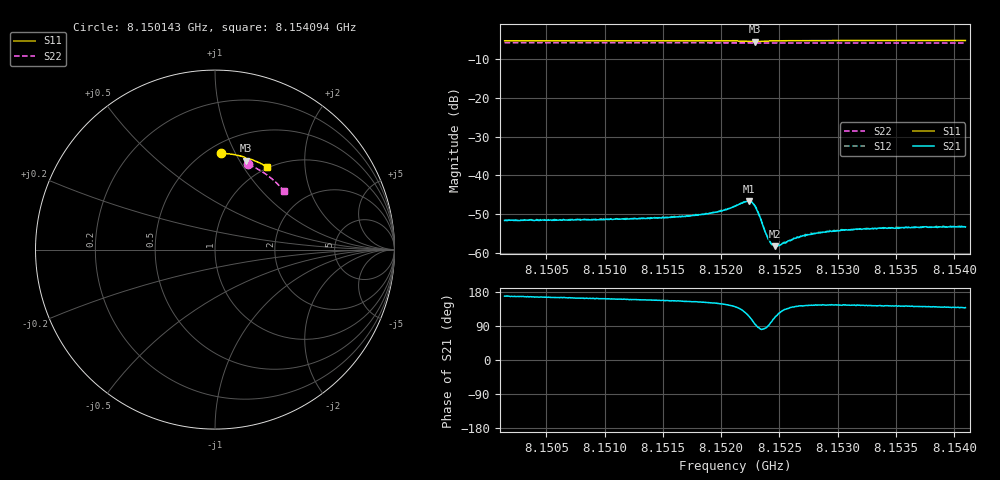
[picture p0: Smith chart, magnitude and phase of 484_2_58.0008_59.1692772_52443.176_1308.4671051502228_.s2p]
#  HZ  S  RI  R  50.00
! Rohde & Schwarz Vector Network Analyzer
! Rohde-Schwarz,ZNB20-2Port,1311601062101988,3.16
! Created: UTC 3/21/2024, 1:12:00 AM
! freq[Hz]  re:S11  im:S11  re:S21  im:S21  re:S12  im:S12  re:S22  im:S22
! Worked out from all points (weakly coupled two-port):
!   401 points, 8.150143 GHz to 8.154094 GHz, reference 50 ohm
!   highest |S21| = -46.61 dB at 8.152237 GHz (marker M1); lowest = -58.2 dB at 8.152464 GHz (marker M2)
!   lowest |S11| = -5.6 dB at 8.152286 GHz (marker M3), VSWR 3.21, Z = 38.9 + j53.3 ohm
!   |S11| at or under -10 dB: nowhere
!   |S22| runs from -6.0 to -5.9 dB; largest |S21 - S12| = 0.00013
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8.1501426e9  0.0331 0.5373  -0.00259 0.000525  -0.00258 0.000575  0.185 0.4749
8.1508045e9  0.0793 0.5336  -0.00259 0.000766  -0.00257 0.000802  0.2235 0.457
8.1514664e9  0.1253 0.5257  -0.00265 0.00109  -0.00262 0.00116  0.2603 0.4359
8.1517134e9  0.1426 0.5215  -0.0027 0.00128  -0.00274 0.00133  0.2735 0.4273
8.1518616e9  0.1532 0.5183  -0.00281 0.00149  -0.00283 0.00156  0.2813 0.422
8.1520098e9  0.1643 0.5142  -0.00298 0.00185  -0.00301 0.00193  0.289 0.4165
8.1521184e9  0.1728 0.5091  -0.0031 0.00255  -0.00309 0.00263  0.2945 0.4122
8.1521975e9  0.1775 0.5025  -0.00276 0.0036  -0.00279 0.00366  0.2984 0.4089
8.152237e9  0.1772 0.4981  -0.00204 0.00421  -0.002 0.00427  0.3003 0.4073
8.1522666e9  0.1749 0.4959  -0.0011 0.00434  -0.00103 0.0044  0.3014 0.4062
8.1522864e9  0.173 0.4958  -0.000417 0.0041  -0.000362 0.00412  0.3024 0.4054
8.152316e9  0.1707 0.4982  0.000229 0.00333  0.000248 0.00342  0.3038 0.4044
8.1523852e9  0.1743 0.5044  0.000158 0.00177  0.000209 0.00176  0.3073 0.4021
8.1524049e9  0.1762 0.5053  -1.89e-05 0.0015  1.7e-05 0.00151  0.3083 0.4013
8.1524346e9  0.179 0.5062  -0.000269 0.00128  -0.000274 0.00125  0.3099 0.4002
8.1524642e9  0.182 0.5064  -0.000506 0.00113  -0.000504 0.00114  0.3113 0.3991
8.1524939e9  0.1847 0.5063  -0.000692 0.00105  -0.000687 0.00107  0.3128 0.3978
8.152642e9  0.1967 0.5039  -0.00122 0.000974  -0.0012 0.000999  0.32 0.3918
8.1527804e9  0.2069 0.5007  -0.00143 0.00103  -0.00144 0.00105  0.3268 0.386
8.153057e9  0.2257 0.4934  -0.00162 0.00113  -0.00163 0.00115  0.3397 0.3742
8.1534423e9  0.2503 0.4823  -0.00169 0.00128  -0.00168 0.00132  0.3569 0.3571
8.1540943e9  0.29 0.4606  -0.00163 0.00145  -0.00162 0.00146  0.3838 0.326
